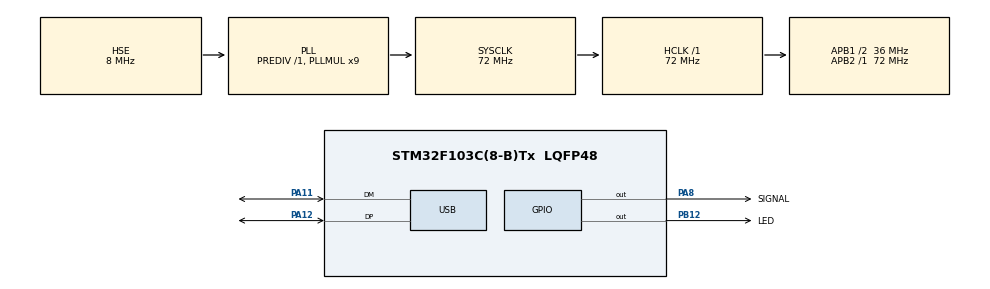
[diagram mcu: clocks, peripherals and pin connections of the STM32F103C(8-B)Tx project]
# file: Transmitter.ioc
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Mcu.Family=STM32F1
Mcu.Name=STM32F103C(8-B)Tx
Mcu.Package=LQFP48
NVIC.PriorityGroup=NVIC_PRIORITYGROUP_4
NVIC.TIM2_IRQn=true\:0\:0\:false\:false\:true\:true\:true
NVIC.USB_LP_CAN1_RX0_IRQn=true\:0\:0\:false\:false\:true\:false\:true
PA11.Mode=Device
PA11.Signal=USB_DM
PA12.Mode=Device
PA12.Signal=USB_DP
PA13.Mode=Serial_Wire
PA13.Signal=SYS_JTMS-SWDIO
PA14.Mode=Serial_Wire
PA14.Signal=SYS_JTCK-SWCLK
PA8.GPIO_Label=SIGNAL
PA8.GPIO_Speed=GPIO_SPEED_FREQ_HIGH
PA8.PinState=GPIO_PIN_RESET
PA8.Signal=GPIO_Output
PB12.GPIO_Label=LED
PB12.GPIO_Speed=GPIO_SPEED_FREQ_HIGH
PB12.Signal=GPIO_Output
PD0-OSC_IN.Mode=HSE-External-Oscillator
PD0-OSC_IN.Signal=RCC_OSC_IN
PD1-OSC_OUT.Mode=HSE-External-Oscillator
PD1-OSC_OUT.Signal=RCC_OSC_OUT
ProjectManager.HeapSize=0x100
ProjectManager.StackSize=0x400
ProjectManager.TargetToolchain=STM32CubeIDE
RCC.ADCPresc=RCC_ADCPCLK2_DIV6
RCC.AHBFreq_Value=72000000
RCC.APB1CLKDivider=RCC_HCLK_DIV2
RCC.APB1Freq_Value=36000000
RCC.APB1TimFreq_Value=72000000
RCC.APB2Freq_Value=72000000
RCC.APB2TimFreq_Value=72000000
RCC.HCLKFreq_Value=72000000
RCC.PLLMUL=RCC_PLL_MUL9
RCC.PLLSourceVirtual=RCC_PLLSOURCE_HSE
RCC.SYSCLKFreq_VALUE=72000000
RCC.SYSCLKSource=RCC_SYSCLKSOURCE_PLLCLK
RCC.USBFreq_Value=48000000
RCC.USBPrescaler=RCC_USBCLKSOURCE_PLL_DIV1_5
TIM2.Period=100-1
TIM2.Prescaler=72-1
USB_DEVICE.APP_RX_DATA_SIZE=2048
USB_DEVICE.APP_TX_DATA_SIZE=2048
USB_DEVICE.CLASS_NAME_FS=CDC
USB_DEVICE.USBD_MAX_NUM_INTERFACES=1
USB_DEVICE.VirtualMode=Cdc
USB_DEVICE.VirtualModeFS=Cdc_FS
VP_TIM2_VS_ClockSourceINT.Mode=Internal
VP_USB_DEVICE_VS_USB_DEVICE_CDC_FS.Mode=CDC_FS
board=custom

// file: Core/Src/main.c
/* USER CODE BEGIN Header */
/**
 ******************************************************************************
 * @file           : main.c
 * @brief          : Main program body
 ******************************************************************************
 * @attention
 *
 * <h2><center>&copy; Copyright (c) 2020 STMicroelectronics.
 * All rights reserved.</center></h2>
 *
 * This software component is licensed by ST under BSD 3-Clause license,
 * the "License"; You may not use this file except in compliance with the
 * License. You may obtain a copy of the License at:
 *                        opensource.org/licenses/BSD-3-Clause
 *
 ******************************************************************************
 */
/* USER CODE END Header */
#include "main.h"
#include "usb_device.h"

/* USER CODE BEGIN PD */
#define ADC_BUF_LEN 100
/* USER CODE END PD */

TIM_HandleTypeDef htim2;

/* USER CODE BEGIN PV */

uint32_t g_ADC1[100];
static volatile uint32_t g_ADCBuffer[100];
uint32_t v = 0;

int preamble_bit = 0;
int preamble_flag = 0;
char binaryString2[300];
char *output;
int len, len2;
int counter = 0;
int i = 0;
int words = 0;
int flag = 0;
int bit = 0;
char Msg[200] = "hello hello hello hello hello hello hello hell hello hello hello hello hello hello hello \r\n";
char length[3] = "";
int repeats = 0;
int wait = 0;

//uint32_t adc_buf[ADC_BUF_LEN];
//double voltage = 0.0;

/* USER CODE END PV */

void SystemClock_Config(void);
static void MX_GPIO_Init(void);
static void MX_TIM2_Init(void);
/* USER CODE BEGIN PFP */
//void user_pwm_setvalue(uint16_t value);
/* USER CODE END PFP */

/* USER CODE BEGIN 0 */

// Function taken from: https://stackoverflow.com/questions/41384262/convert-string-to-binary-in-c
// converts a given string to its binary equivalent
char *stringToBinary(char *s)
{
	if (s == NULL) {
		// NULL might be 0 but you cannot be sure about it
		return NULL;
	}
	// get length of string without NULL
	size_t slen = strlen(s);

	errno = 0;
	// allocate "slen" (number of characters in string without NUL)
	// times the number of bits in a "char" plus one byte for the NUL
	// at the end of the return value
	char *binary = malloc(slen * CHAR_BIT + 1);
	if(binary == NULL){
		fprintf(stderr,"malloc has failed in stringToBinary(%s): %s\n",s, strerror(errno));
		return NULL;
	}

	if (slen == 0) {
		*binary = '\0';
		return binary;
	}
	char *ptr;
	// keep an eye on the beginning
	char *start = binary;
	int i;

	// loop over the input-characters
	for (ptr = s; *ptr != '\0'; ptr++) {
		/* perform bitwise AND for every bit of the character */
		// loop over the input-character bits
		for (i = CHAR_BIT - 1; i >= 0; i--, binary++) {
			*binary = (*ptr & 1 << i) ? '1' : '0';
		}
	}
	// finalize return value
	*binary = '\0';
	// reset pointer to beginning
	binary = start;
	return binary;
}

/*void user_pwm_setvalue(uint16_t value)
{
    TIM_OC_InitTypeDef sConfigOC;

    sConfigOC.OCMode = TIM_OCMODE_PWM1;
    sConfigOC.Pulse = value;
    sConfigOC.OCPolarity = TIM_OCPOLARITY_HIGH;
    sConfigOC.OCNPolarity = TIM_OCNPOLARITY_HIGH;
    sConfigOC.OCFastMode = TIM_OCFAST_DISABLE;
    sConfigOC.OCIdleState = TIM_OCIDLESTATE_RESET;
    sConfigOC.OCNIdleState = TIM_OCNIDLESTATE_RESET;
    if(HAL_TIM_PWM_ConfigChannel(&htim1, &sConfigOC, TIM_CHANNEL_1) != HAL_OK)
    {
    	Error_Handler();
    }
    HAL_TIM_PWM_Start(&htim1, TIM_CHANNEL_1);
}*/

/* USER CODE END 0 */

int main(void)
{
  /* USER CODE BEGIN 1 */
	//HAL_StatusTypeDef status;

  /* USER CODE END 1 */

  /* MCU Configuration--------------------------------------------------------*/

  /* Reset of all peripherals, Initializes the Flash interface and the Systick. */
  HAL_Init();

  /* Configure the system clock */
  SystemClock_Config();

  /* Initialize all configured peripherals */
  MX_GPIO_Init();
  MX_USB_DEVICE_Init();
  MX_TIM2_Init();
  /* USER CODE BEGIN 2 */
	//HAL_TIM_Base_Start(&htim1);
	//HAL_TIM_Base_Start(&htim3);
	//HAL_TIM_PWM_Start(&htim1, TIM_CHANNEL_1);
	//HAL_TIM_Base_Start_IT(&htim2);

	//HAL_ADC_Start(&hadc1);

	//HAL_ADC_Start_DMA(&hadc1, (uint32_t*)adc_buf, ADC_BUF_LEN);

	//float input_voltage = 0.0;

	//uint16_t pwm_value = 0;
	//uint16_t step = 0;
	//uint32_t v = 0;
	//char msg[10];

  /* USER CODE END 2 */

  /* Infinite loop */
	while (1)
	{

    /* USER CODE BEGIN 3 */

		// Initialisation code, only runs once to generate a string of binary digits based on a supplied string which can be freely changed
		if(flag == 0)
		{
			//HAL_GPIO_WritePin(LED_GPIO_Port, LED_Pin, GPIO_PIN_SET);
			HAL_Delay(3000); // 3 second delay to give time to position the LED
			char input[200] = "Underwater Optical Communications"; // input string, can change to any string if required
			output = stringToBinary(input); // converts input to binary equivalent

			//sprintf(Msg, "%s\r\n", output);
			//CDC_Transmit_FS(Msg, strlen(Msg));

			len = strlen(output); // grabs number of bits

			// create new string here in order to be able to access each element of the output string*
			char binaryString[len+8];

			for (; *output; output++)
			{
				binaryString[i] = *output;
				i++;
			}
			free(output);

			//sprintf(length, "%d", len);// possibly try to send over length first.

			strcpy(binaryString2, binaryString);

			//free(binaryString);

			flag = 1;

			HAL_TIM_Base_Start_IT(&htim2); // begin transmission
		}

	}
  /* USER CODE END 3 */
}

void SystemClock_Config(void)
{
  RCC_OscInitTypeDef RCC_OscInitStruct = {0};
  RCC_ClkInitTypeDef RCC_ClkInitStruct = {0};
  RCC_PeriphCLKInitTypeDef PeriphClkInit = {0};

  /** Initializes the RCC Oscillators according to the specified parameters
  * in the RCC_OscInitTypeDef structure.
  */
  RCC_OscInitStruct.OscillatorType = RCC_OSCILLATORTYPE_HSE;
  RCC_OscInitStruct.HSEState = RCC_HSE_ON;
  RCC_OscInitStruct.HSEPredivValue = RCC_HSE_PREDIV_DIV1;
  RCC_OscInitStruct.HSIState = RCC_HSI_ON;
  RCC_OscInitStruct.PLL.PLLState = RCC_PLL_ON;
  RCC_OscInitStruct.PLL.PLLSource = RCC_PLLSOURCE_HSE;
  RCC_OscInitStruct.PLL.PLLMUL = RCC_PLL_MUL9;
  if (HAL_RCC_OscConfig(&RCC_OscInitStruct) != HAL_OK)
  {
    Error_Handler();
  }
  /** Initializes the CPU, AHB and APB buses clocks
  */
  RCC_ClkInitStruct.ClockType = RCC_CLOCKTYPE_HCLK|RCC_CLOCKTYPE_SYSCLK
                              |RCC_CLOCKTYPE_PCLK1|RCC_CLOCKTYPE_PCLK2;
  RCC_ClkInitStruct.SYSCLKSource = RCC_SYSCLKSOURCE_PLLCLK;
  RCC_ClkInitStruct.AHBCLKDivider = RCC_SYSCLK_DIV1;
  RCC_ClkInitStruct.APB1CLKDivider = RCC_HCLK_DIV2;
  RCC_ClkInitStruct.APB2CLKDivider = RCC_HCLK_DIV1;

  if (HAL_RCC_ClockConfig(&RCC_ClkInitStruct, FLASH_LATENCY_2) != HAL_OK)
  {
    Error_Handler();
  }
  PeriphClkInit.PeriphClockSelection = RCC_PERIPHCLK_USB;
  PeriphClkInit.UsbClockSelection = RCC_USBCLKSOURCE_PLL_DIV1_5;
  if (HAL_RCCEx_PeriphCLKConfig(&PeriphClkInit) != HAL_OK)
  {
    Error_Handler();
  }
}

static void MX_TIM2_Init(void)
{

  TIM_ClockConfigTypeDef sClockSourceConfig = {0};
  TIM_MasterConfigTypeDef sMasterConfig = {0};

  htim2.Instance = TIM2;
  htim2.Init.Prescaler = 72-1;
  htim2.Init.CounterMode = TIM_COUNTERMODE_UP;
  htim2.Init.Period = 100-1;
  htim2.Init.ClockDivision = TIM_CLOCKDIVISION_DIV1;
  htim2.Init.AutoReloadPreload = TIM_AUTORELOAD_PRELOAD_DISABLE;
  if (HAL_TIM_Base_Init(&htim2) != HAL_OK)
  {
    Error_Handler();
  }
  sClockSourceConfig.ClockSource = TIM_CLOCKSOURCE_INTERNAL;
  if (HAL_TIM_ConfigClockSource(&htim2, &sClockSourceConfig) != HAL_OK)
  {
    Error_Handler();
  }
  sMasterConfig.MasterOutputTrigger = TIM_TRGO_RESET;
  sMasterConfig.MasterSlaveMode = TIM_MASTERSLAVEMODE_DISABLE;
  if (HAL_TIMEx_MasterConfigSynchronization(&htim2, &sMasterConfig) != HAL_OK)
  {
    Error_Handler();
  }

}

static void MX_GPIO_Init(void)
{
  GPIO_InitTypeDef GPIO_InitStruct = {0};

  /* GPIO Ports Clock Enable */
  __HAL_RCC_GPIOD_CLK_ENABLE();
  __HAL_RCC_GPIOB_CLK_ENABLE();
  __HAL_RCC_GPIOA_CLK_ENABLE();

  /*Configure GPIO pin Output Level */
  HAL_GPIO_WritePin(LED_GPIO_Port, LED_Pin, GPIO_PIN_RESET);

  /*Configure GPIO pin Output Level */
  HAL_GPIO_WritePin(SIGNAL_GPIO_Port, SIGNAL_Pin, GPIO_PIN_RESET);

  /*Configure GPIO pin : LED_Pin */
  GPIO_InitStruct.Pin = LED_Pin;
  GPIO_InitStruct.Mode = GPIO_MODE_OUTPUT_PP;
  GPIO_InitStruct.Pull = GPIO_NOPULL;
  GPIO_InitStruct.Speed = GPIO_SPEED_FREQ_HIGH;
  HAL_GPIO_Init(LED_GPIO_Port, &GPIO_InitStruct);

  /*Configure GPIO pin : SIGNAL_Pin */
  GPIO_InitStruct.Pin = SIGNAL_Pin;
  GPIO_InitStruct.Mode = GPIO_MODE_OUTPUT_PP;
  GPIO_InitStruct.Pull = GPIO_NOPULL;
  GPIO_InitStruct.Speed = GPIO_SPEED_FREQ_HIGH;
  HAL_GPIO_Init(SIGNAL_GPIO_Port, &GPIO_InitStruct);

}

/* USER CODE BEGIN 4 */

// Callback: timer has rolled over
void HAL_TIM_PeriodElapsedCallback(TIM_HandleTypeDef *htim)
{
	// Check which version of the timer triggered this callback and toggle LED
	if ( htim == &htim2 )
	{
		//HAL_GPIO_TogglePin(SIGNAL_GPIO_Port, SIGNAL_Pin);

		if(preamble_bit < 3) // send preamble of 3 HIGH bits = start flag
		{
			HAL_GPIO_WritePin(SIGNAL_GPIO_Port, SIGNAL_Pin, GPIO_PIN_SET);

			preamble_bit++;
		}
		else // after preamble
		{
			if(counter < 8) // for 8 bits equaling one byte or one whole character
			{
				if(binaryString2[bit] == '0') // LOW
				{
					//HAL_GPIO_WritePin(SIGNAL_GPIO_Port, SIGNAL_Pin, GPIO_PIN_RESET);
					HAL_GPIO_WritePin(SIGNAL_GPIO_Port, SIGNAL_Pin, GPIO_PIN_RESET);
					bit++;
				}
				else if(binaryString2[bit] == '1') // HIGH
				{
					//HAL_GPIO_WritePin(SIGNAL_GPIO_Port, SIGNAL_Pin, GPIO_PIN_SET);
					HAL_GPIO_WritePin(SIGNAL_GPIO_Port, SIGNAL_Pin, GPIO_PIN_SET);
					bit++;
				}

				counter++;
			}
			else
			{
				if(wait < 1)
				{
					HAL_GPIO_WritePin(SIGNAL_GPIO_Port, SIGNAL_Pin, GPIO_PIN_RESET);
					wait++;
				}
				else
				{
					//HAL_GPIO_WritePin(SIGNAL_GPIO_Port, SIGNAL_Pin, GPIO_PIN_RESET);
					wait = 0;
					counter = 0;
					 // turn off led for one cycle = end flag
					preamble_bit = 0;
					words++;
					if(words == (len/8)) // checks if the entire string has been transmitted
					{
						bit = 0;
						words = 0;
						// uncomment the following to limit the amount of strings sent
						//repeats++;
						//if(repeats == 10) // change for the number of strings to send before transmission ends
						//{
						//	HAL_TIM_Base_Stop_IT(&htim2);
						//}
					}
				}

			}
		}
	}
}

/* USER CODE END 4 */

void Error_Handler(void)
{
}

/************************ (C) COPYRIGHT STMicroelectronics *****END OF FILE****/
